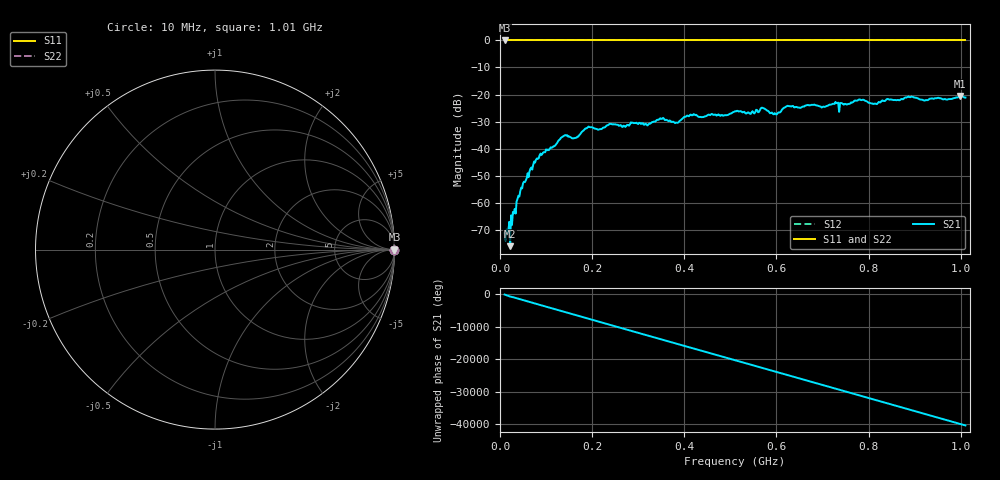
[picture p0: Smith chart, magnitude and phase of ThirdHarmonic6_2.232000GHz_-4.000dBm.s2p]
! 8/17/2025 2:32:47 AM
! C:\ANRITSUVNA\TEMP\TEMP.S2P
! CHANNEL.1
! TR.MEASUREMENT
! RAW.DATA
! RF.CORRECTION.OFF
! AVERAGING.OFF
! IF.BANDWIDTH: 5KHZ
! SWEEPTYPE:  FREQ.SWEEP(Linear)
! Reference Plane Port Info
! PORT:  PORT1  PORT2
! DISTANCE:  0  m  0  m
! TIME:  0  s  0  s
! PHASE.OFFSET:  0  deg.  0  deg.
! LOSS:  0  dB  0  dB
! REF.LOSS:  0  dB  0  dB
! REF.FREQ:  0  Hz  0  Hz
! Power Info
! POWER:  -20  dBm  -20  dBm
! EFF.POWER:  -20  dBm  -20  dBm
! SOURCE.ATTEN:  0  dB  0  dB
! TEST.ATTEN:  0  dB  0  dB
# GHZ S RI R 50.0
! FREQ.GHZ  S11RE  S11IM  S21RE  S21IM  S12RE  S12IM  S22RE  S22IM
!; PortSelection: Port_12
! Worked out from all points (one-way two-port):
!   501 points, 10 MHz to 1.01 GHz, reference 50 ohm
!   highest |S21| = -20.52 dB at 998 MHz (marker M1); lowest = -76.1 dB at 22 MHz (marker M2)
!   lowest |S11| = 0.0 dB at 10 MHz (marker M3)
!   |S11| at or under -10 dB: nowhere
!   |S22| runs from 0.0 to 0.0 dB; largest |S21 - S12| = 1.1
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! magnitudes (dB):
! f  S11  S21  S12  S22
! 10 MHz  0.0  -71.3  0.0  0.0
! 22 MHz  0.0  -76.1  0.0  0.0
! 28 MHz  0.0  -63.4  0.0  0.0
! 48 MHz  0.0  -54.7  0.0  0.0
! 76 MHz  0.0  -45.2  0.0  0.0
! 136 MHz  0.0  -35.6  0.0  0.0
! 162 MHz  0.0  -36.1  0.0  0.0
! 178 MHz  0.0  -33.7  0.0  0.0
! 194 MHz  0.0  -32.0  0.0  0.0
! 322 MHz  0.0  -31.0  0.0  0.0
! 344 MHz  0.0  -29.4  0.0  0.0
! 384 MHz  0.0  -30.4  0.0  0.0
! 416 MHz  0.0  -27.7  0.0  0.0
! 510 MHz  0.0  -26.2  0.0  0.0
! 570 MHz  0.0  -24.9  0.0  0.0
! 598 MHz  0.0  -27.1  0.0  0.0
! 624 MHz  0.0  -24.2  0.0  0.0
! 678 MHz  0.0  -23.8  0.0  0.0
! 814 MHz  0.0  -23.4  0.0  0.0
! 844 MHz  0.0  -21.8  0.0  0.0
! 998 MHz  0.0  -20.5  0.0  0.0
! 1.01 GHz  0.0  -21.1  0.0  0.0
